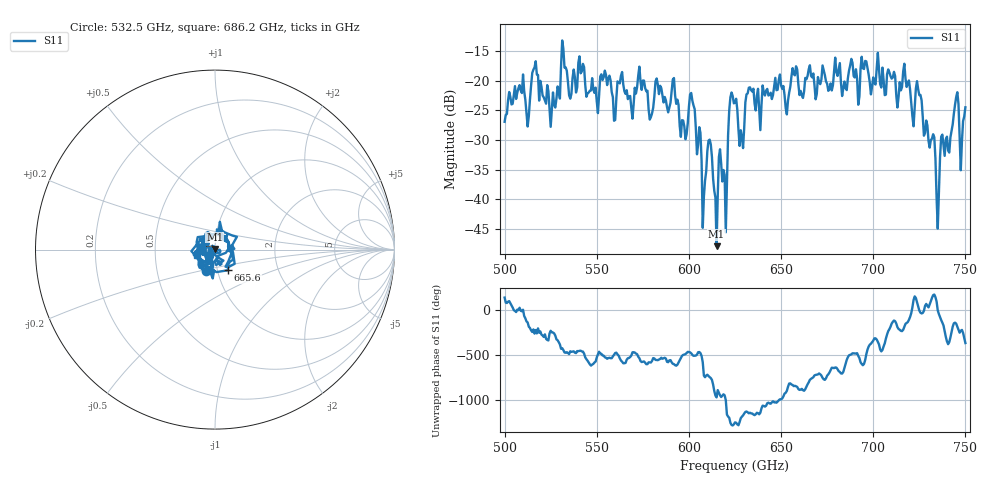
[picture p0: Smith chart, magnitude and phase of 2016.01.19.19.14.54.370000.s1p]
!Created with skrf (http://scikit-rf.org).
# GHz S RI R 50.0
!freq ReS11 ImS11
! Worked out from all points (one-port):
!   401 points, 500 GHz to 750 GHz, reference 50 ohm
!   lowest |S11| = -48.0 dB at 615 GHz (marker M1), VSWR 1.01, Z = 49.9 + j0.384 ohm
!   |S11| at or under -10 dB: start of sweep to end of sweep
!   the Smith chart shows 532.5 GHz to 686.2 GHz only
!   S11 on the Smith chart (normalised r, x): 532.5 GHz: 0.88, -0.21; 665.6 GHz: 1.12, -0.26; 686.2 GHz: 0.81, -0.05
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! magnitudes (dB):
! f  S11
! 500 GHz  -26.9
! 512.5 GHz  -27.7
! 516.2 GHz  -17.7
! 526.2 GHz  -22.0
! 531.2 GHz  -13.2
! 532.5 GHz  -17.8
! 559.4 GHz  -26.7
! 562.5 GHz  -20.4
! 593.8 GHz  -23.2
! 601.9 GHz  -23.4
! 608.1 GHz  -39.6
! 611.2 GHz  -29.9
! 615 GHz  -48.0
! 619.4 GHz  -35.9
! 622.5 GHz  -22.8
! 625 GHz  -23.7
! 628.8 GHz  -29.5
! 632.5 GHz  -21.2
! 656.2 GHz  -17.8
! 665.6 GHz  -17.4
! 686.2 GHz  -19.5
! 687.5 GHz  -17.4
! 718.8 GHz  -20.4
! 725 GHz  -22.4
! 735 GHz  -45.0
! 745 GHz  -22.7
! 748.1 GHz  -30.2
! 750 GHz  -24.5
